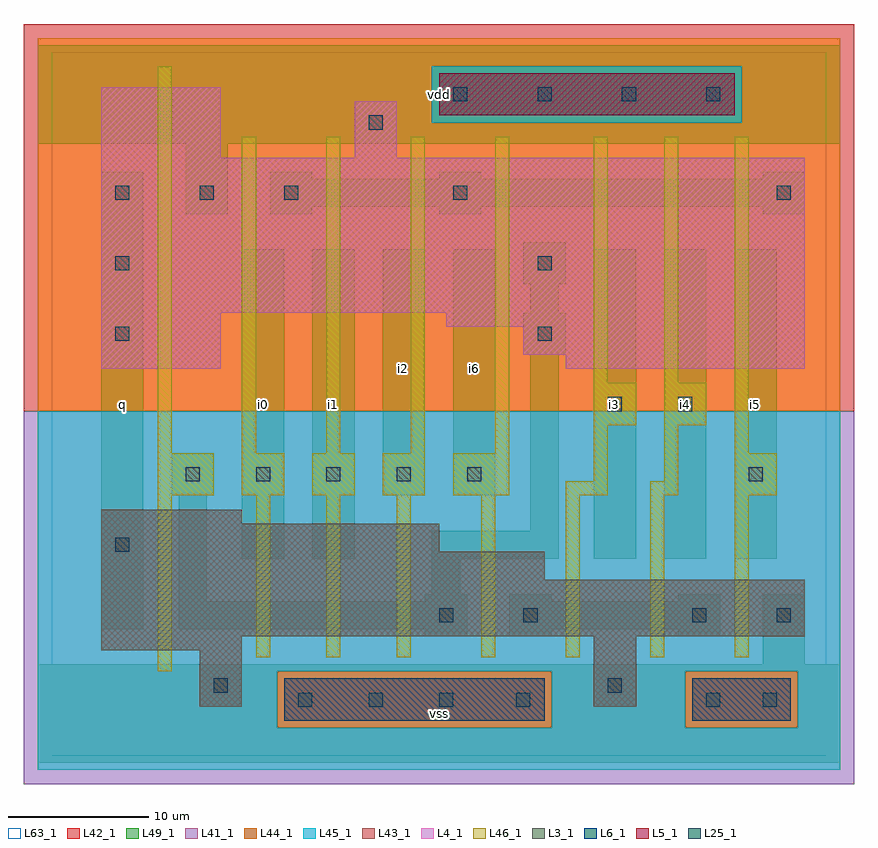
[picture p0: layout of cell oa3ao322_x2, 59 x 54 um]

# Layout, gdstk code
import gdstk
lib = gdstk.Library(unit=1e-6, precision=1e-09)
def R(c, l, rs):  # rectangles x0, y0, x1, y1
    for r in rs: c.add(gdstk.rectangle(r[:2], r[2:], *l))
def A(c, l, x, y, w, h, nx, ny, dx, dy):  # array of equal rectangles
    R(c, l, [(x+i*dx, y+j*dy, x+i*dx+w, y+j*dy+h) for i in range(nx) for j in range(ny)])
L3_1 = (3, 1)
L4_1 = (4, 1)
L5_1 = (5, 1)
L6_1 = (6, 1)
L25_1 = (25, 1)
L41_1 = (41, 1)
L42_1 = (42, 1)
L43_1 = (43, 1)
L44_1 = (44, 1)
L45_1 = (45, 1)
L46_1 = (46, 1)
L49_1 = (49, 1)
L63_1 = (63, 1)

oa3ao322_x2 = lib.new_cell('oa3ao322_x2')
R(oa3ao322_x2, L3_1, [(10.5,3.5,13.5,7.5), (38.5,3.5,41.5,8.5), (3.5,7.5,13.5,8.5), (3.5,8.5,53.5,12.5), (3.5,12.5,35,14.5), (3.5,14.5,27.5,16.5), (3.5,16.5,13.5,17.5)])
R(oa3ao322_x2, L4_1, [(3.5,27.5,12,31.5), (36.5,27.5,53.5,28.5), (33.5,28.5,53.5,30.5), (28,30.5,53.5,31.5), (3.5,31.5,53.5,42.5), (3.5,42.5,12,47.5), (21.5,42.5,24.5,46.5)])
R(oa3ao322_x2, L5_1, [(27.5,45.5,48.5,48.5)])
R(oa3ao322_x2, L6_1, [(16.5,2.5,35,5.5), (45.5,2.5,52.5,5.5)])
A(oa3ao322_x2, L25_1, 17.5, 3.5, 1, 1, 3, 1, 5, 0)
A(oa3ao322_x2, L25_1, 9.5, 19.5, 1, 1, 5, 1, 5, 0)
A(oa3ao322_x2, L25_1, 4.5, 39.5, 1, 1, 3, 1, 6, 0)
A(oa3ao322_x2, L25_1, 28.5, 46.5, 1, 1, 4, 1, 6, 0)
R(oa3ao322_x2, L25_1, [(33,3.5,34,4.5), (46.5,3.5,47.5,4.5), (50.5,3.5,51.5,4.5), (11.5,4.5,12.5,5.5), (39.5,4.5,40.5,5.5), (27.5,9.5,28.5,10.5), (33.5,9.5,34.5,10.5), (45.5,9.5,46.5,10.5), (51.5,9.5,52.5,10.5), (4.5,14.5,5.5,15.5), (49.5,19.5,50.5,20.5), (39.5,24.5,40.5,25.5), (44.5,24.5,45.5,25.5), (4.5,29.5,5.5,30.5), (34.5,29.5,35.5,30.5), (4.5,34.5,5.5,35.5), (34.5,34.5,35.5,35.5), (28.5,39.5,29.5,40.5), (51.5,39.5,52.5,40.5), (22.5,44.5,23.5,45.5)])
R(oa3ao322_x2, L41_1, [(-2,-2,57,24.5)])
R(oa3ao322_x2, L42_1, [(-2,24.5,57,52)])
R(oa3ao322_x2, L43_1, [(16.5,2.5,35,5.5), (45.5,2.5,52.5,5.5), (10.5,3.5,13.5,7.5), (38.5,3.5,41.5,8.5), (3.5,7.5,13.5,8.5), (3.5,8.5,53.5,12.5), (3.5,12.5,35,14.5), (3.5,14.5,27.5,16.5), (3.5,16.5,13.5,17.5), (3.5,27.5,12,31.5), (36.5,27.5,53.5,28.5), (33.5,28.5,53.5,30.5), (28,30.5,53.5,31.5), (3.5,31.5,53.5,42.5), (3.5,42.5,12,47.5), (21.5,42.5,24.5,46.5), (27.5,45.5,48.5,48.5)])
R(oa3ao322_x2, L44_1, [(16,2,35.5,6), (45,2,53,6), (-1,24.5,56,45), (-1,45,27,49), (49,45,56,49), (-1,49,56,51)])
R(oa3ao322_x2, L45_1, [(-1,-1,56,2), (-1,2,16,6), (35.5,2,45,6), (53,2,56,6), (-1,6,56,24.5), (27,45,49,49)])
A(oa3ao322_x2, L46_1, 14.5, 7, 1, 11.5, 3, 1, 5, 0)
A(oa3ao322_x2, L46_1, 30.5, 7, 1, 11.5, 4, 1, 6, 0)
A(oa3ao322_x2, L46_1, 13.5, 18.5, 3, 3, 3, 1, 5, 0)
A(oa3ao322_x2, L46_1, 13.5, 21.5, 1, 22.5, 4, 1, 6, 0)
R(oa3ao322_x2, L46_1, [(7.5,6,8.5,18.5), (7.5,18.5,11.5,21.5), (28.5,18.5,32.5,21.5), (36.5,18.5,39.5,19.5), (42.5,18.5,44.5,19.5), (48.5,18.5,51.5,21.5), (38.5,19.5,39.5,23.5), (43.5,19.5,44.5,23.5), (7.5,21.5,8.5,49), (48.5,21.5,49.5,44), (38.5,23.5,41.5,26.5), (43.5,23.5,46.5,26.5), (38.5,26.5,39.5,44), (43.5,26.5,44.5,44)])
A(oa3ao322_x2, L49_1, 38.5, 14, 3, 22, 3, 1, 5, 0)
R(oa3ao322_x2, L49_1, [(-1,-0.5,56,6.5), (50.5,6.5,53.5,11.5), (26.5,8.5,29.5,9), (32.5,8.5,35.5,9), (44.5,8.5,47.5,9), (3.5,9,6.5,41.5), (9,9,29.5,11), (32.5,9,47.5,11), (9,11,11,18.5), (26.5,11,29.5,11.5), (32.5,11,35.5,11.5), (44.5,11,47.5,11.5), (27,11.5,29,14), (13.5,14,16.5,36), (18.5,14,21.5,36), (27,14,36,16), (34,16,36,28.5), (8.5,18.5,11.5,21.5), (23.5,18.5,26.5,36), (28.5,18.5,31.5,36), (33.5,28.5,36.5,31.5), (34,31.5,36,33.5), (33.5,33.5,36.5,36.5), (9.5,38.5,12.5,43.5), (15.5,38.5,18.5,39), (27.5,38.5,30.5,39), (50.5,38.5,53.5,39), (15.5,39,53.5,41), (15.5,41,18.5,41.5), (27.5,41,30.5,41.5), (50.5,41,53.5,41.5), (-1,43.5,56,50.5)])
R(oa3ao322_x2, L63_1, [(0,0,55,50)])
oa3ao322_x2.add(gdstk.Label('q', (5,25), layer=49, texttype=1))
oa3ao322_x2.add(gdstk.Label('q', (5,25), layer=49, texttype=1))
oa3ao322_x2.add(gdstk.Label('i1', (20,25), layer=49, texttype=1))
oa3ao322_x2.add(gdstk.Label('i0', (15,25), layer=49, texttype=1))
oa3ao322_x2.add(gdstk.Label('i1', (20,25), layer=49, texttype=1))
oa3ao322_x2.add(gdstk.Label('i0', (15,25), layer=49, texttype=1))
oa3ao322_x2.add(gdstk.Label('vss', (27.5,3), layer=49, texttype=1))
oa3ao322_x2.add(gdstk.Label('vss', (27.5,3), layer=49, texttype=1))
oa3ao322_x2.add(gdstk.Label('i2', (25,27.5), layer=49, texttype=1))
oa3ao322_x2.add(gdstk.Label('i6', (30,27.5), layer=49, texttype=1))
oa3ao322_x2.add(gdstk.Label('i6', (30,27.5), layer=49, texttype=1))
oa3ao322_x2.add(gdstk.Label('i2', (25,27.5), layer=49, texttype=1))
oa3ao322_x2.add(gdstk.Label('vdd', (27.5,47), layer=49, texttype=1))
oa3ao322_x2.add(gdstk.Label('vdd', (27.5,47), layer=49, texttype=1))
oa3ao322_x2.add(gdstk.Label('i3', (40,25), layer=49, texttype=1))
oa3ao322_x2.add(gdstk.Label('i3', (40,25), layer=49, texttype=1))
oa3ao322_x2.add(gdstk.Label('i4', (45,25), layer=49, texttype=1))
oa3ao322_x2.add(gdstk.Label('i4', (45,25), layer=49, texttype=1))
oa3ao322_x2.add(gdstk.Label('i5', (50,25), layer=49, texttype=1))
oa3ao322_x2.add(gdstk.Label('i5', (50,25), layer=49, texttype=1))

lib.write_gds('oa3ao322_x2.gds')
